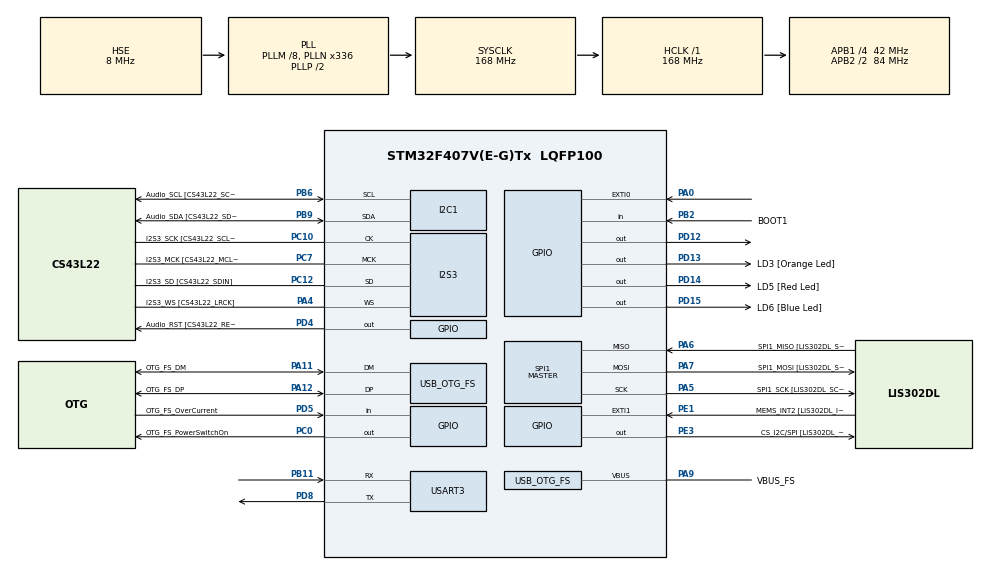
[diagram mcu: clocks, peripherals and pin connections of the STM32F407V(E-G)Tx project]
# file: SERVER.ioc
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Dma.Request0=USART3_RX
Dma.Request1=USART3_TX
Dma.USART3_RX.0.Direction=DMA_PERIPH_TO_MEMORY
Dma.USART3_RX.0.FIFOMode=DMA_FIFOMODE_DISABLE
Dma.USART3_RX.0.Instance=DMA1_Stream1
Dma.USART3_RX.0.MemDataAlignment=DMA_MDATAALIGN_BYTE
Dma.USART3_RX.0.MemInc=DMA_MINC_ENABLE
Dma.USART3_RX.0.Mode=DMA_NORMAL
Dma.USART3_RX.0.PeriphDataAlignment=DMA_PDATAALIGN_BYTE
Dma.USART3_RX.0.PeriphInc=DMA_PINC_DISABLE
Dma.USART3_RX.0.Priority=DMA_PRIORITY_LOW
Dma.USART3_TX.1.Direction=DMA_MEMORY_TO_PERIPH
Dma.USART3_TX.1.FIFOMode=DMA_FIFOMODE_DISABLE
Dma.USART3_TX.1.Instance=DMA1_Stream3
Dma.USART3_TX.1.MemDataAlignment=DMA_MDATAALIGN_BYTE
Dma.USART3_TX.1.MemInc=DMA_MINC_ENABLE
Dma.USART3_TX.1.Mode=DMA_NORMAL
Dma.USART3_TX.1.PeriphDataAlignment=DMA_PDATAALIGN_BYTE
Dma.USART3_TX.1.PeriphInc=DMA_PINC_DISABLE
Dma.USART3_TX.1.Priority=DMA_PRIORITY_LOW
I2S3.AudioFreq-Half_Duplex_Master=I2S_AUDIOFREQ_96K
I2S3.ErrorAudioFreq=-2.34 %
I2S3.ErrorAudioFreq-Half_Duplex_Master=0.8 %
I2S3.FullDuplexMode=I2S_FULLDUPLEXMODE_DISABLE
I2S3.Instance=SPI$Index
I2S3.RealAudioFreq=93.75 KHz
I2S3.RealAudioFreq-Half_Duplex_Master=96.774 KHz
I2S3.VirtualMode=I2S_MODE_MASTER
Mcu.Family=STM32F4
Mcu.Name=STM32F407V(E-G)Tx
Mcu.Package=LQFP100
NVIC.DMA1_Stream1_IRQn=true\:0\:0\:false\:false\:true\:false\:true\:true
NVIC.DMA1_Stream3_IRQn=true\:0\:0\:false\:false\:true\:false\:true\:true
NVIC.EXTI0_IRQn=true\:0\:0\:false\:false\:true\:true\:true\:true
NVIC.OTG_FS_IRQn=true\:0\:0\:false\:false\:true\:true\:true\:true
NVIC.PriorityGroup=NVIC_PRIORITYGROUP_0
NVIC.USART3_IRQn=true\:0\:0\:false\:false\:true\:true\:true\:true
PA0-WKUP.GPIO_ModeDefaultEXTI=GPIO_MODE_IT_RISING
PA0-WKUP.Signal=GPXTI0
PA10.GPIO_Label=OTG_FS_ID
PA10.GPIO_Mode=GPIO_MODE_AF_PP
PA10.GPIO_PuPd=GPIO_NOPULL
PA10.GPIO_Speed=GPIO_SPEED_FREQ_LOW
PA10.Signal=USB_OTG_FS_ID
PA11.GPIO_Label=OTG_FS_DM
PA11.GPIO_Mode=GPIO_MODE_AF_PP
PA11.GPIO_PuPd=GPIO_NOPULL
PA11.GPIO_Speed=GPIO_SPEED_FREQ_LOW
PA11.Mode=Host_Only
PA11.Signal=USB_OTG_FS_DM
PA12.GPIO_Label=OTG_FS_DP
PA12.GPIO_Mode=GPIO_MODE_AF_PP
PA12.GPIO_PuPd=GPIO_NOPULL
PA12.GPIO_Speed=GPIO_SPEED_FREQ_LOW
PA12.Mode=Host_Only
PA12.Signal=USB_OTG_FS_DP
PA13.GPIO_Label=SWDIO
PA13.Mode=Serial_Wire
PA13.Signal=SYS_JTMS-SWDIO
PA14.GPIO_Label=SWCLK
PA14.Mode=Serial_Wire
PA14.Signal=SYS_JTCK-SWCLK
PA4.GPIO_Label=I2S3_WS [CS43L22_LRCK]
PA4.GPIO_Mode=GPIO_MODE_AF_PP
PA4.GPIO_PuPd=GPIO_NOPULL
PA4.GPIO_Speed=GPIO_SPEED_FREQ_LOW
PA4.Mode=Half_Duplex_Master
PA4.Signal=I2S3_WS
PA5.GPIO_Label=SPI1_SCK [LIS302DL_SCL/SPC]
PA5.GPIO_Mode=GPIO_MODE_AF_PP
PA5.GPIO_PuPd=GPIO_NOPULL
PA5.GPIO_Speed=GPIO_SPEED_FREQ_LOW
PA5.Mode=Full_Duplex_Master
PA5.Signal=SPI1_SCK
PA6.GPIO_Label=SPI1_MISO [LIS302DL_SDO]
PA6.GPIO_Mode=GPIO_MODE_AF_PP
PA6.GPIO_PuPd=GPIO_NOPULL
PA6.GPIO_Speed=GPIO_SPEED_FREQ_LOW
PA6.Mode=Full_Duplex_Master
PA6.Signal=SPI1_MISO
PA7.GPIO_Label=SPI1_MOSI [LIS302DL_SDA/SDI/SDO]
PA7.GPIO_Mode=GPIO_MODE_AF_PP
PA7.GPIO_PuPd=GPIO_NOPULL
PA7.GPIO_Speed=GPIO_SPEED_FREQ_LOW
PA7.Mode=Full_Duplex_Master
PA7.Signal=SPI1_MOSI
PA9.GPIO_Label=VBUS_FS
PA9.GPIO_Mode=GPIO_MODE_INPUT
PA9.GPIO_PuPd=GPIO_NOPULL
PA9.Mode=Activate_VBUS
PA9.Signal=USB_OTG_FS_VBUS
PB10.GPIO_Label=CLK_IN [MP45DT02_CLK]
PB10.GPIO_Mode=GPIO_MODE_AF_PP
PB10.GPIO_PuPd=GPIO_NOPULL
PB10.GPIO_Speed=GPIO_SPEED_FREQ_LOW
PB10.Signal=I2S2_CK
PB11.Mode=Asynchronous
PB11.Signal=USART3_RX
PB2.GPIO_Label=BOOT1
PB2.GPIO_Mode=GPIO_MODE_INPUT
PB2.GPIO_PuPd=GPIO_NOPULL
PB2.Signal=GPIO_Input
PB3.GPIO_Label=SWO
PB3.Signal=SYS_JTDO-SWO
PB6.GPIO_Label=Audio_SCL [CS43L22_SCL]
PB6.GPIO_Mode=GPIO_MODE_AF_OD
PB6.GPIO_Pu=GPIO_PULLUP
PB6.GPIO_PuPd=GPIO_NOPULL
PB6.GPIO_Speed=GPIO_SPEED_FREQ_LOW
PB6.Mode=I2C
PB6.Signal=I2C1_SCL
PB9.GPIO_Label=Audio_SDA [CS43L22_SDA]
PB9.GPIO_Mode=GPIO_MODE_AF_OD
PB9.GPIO_Pu=GPIO_PULLUP
PB9.GPIO_PuPd=GPIO_NOPULL
PB9.GPIO_Speed=GPIO_SPEED_FREQ_LOW
PB9.Mode=I2C
PB9.Signal=I2C1_SDA
PC0.GPIO_Label=OTG_FS_PowerSwitchOn
PC0.GPIO_PuPd=GPIO_NOPULL
PC0.GPIO_Speed=GPIO_SPEED_FREQ_LOW
PC0.PinState=GPIO_PIN_SET
PC0.Signal=GPIO_Output
PC10.GPIO_Label=I2S3_SCK [CS43L22_SCLK]
PC10.GPIO_Mode=GPIO_MODE_AF_PP
PC10.GPIO_PuPd=GPIO_NOPULL
PC10.GPIO_Speed=GPIO_SPEED_FREQ_LOW
PC10.Mode=Half_Duplex_Master
PC10.Signal=I2S3_CK
PC12.GPIO_Label=I2S3_SD [CS43L22_SDIN]
PC12.GPIO_Mode=GPIO_MODE_AF_PP
PC12.GPIO_PuPd=GPIO_NOPULL
PC12.GPIO_Speed=GPIO_SPEED_FREQ_LOW
PC12.Mode=Half_Duplex_Master
PC12.Signal=I2S3_SD
PC14-OSC32_IN.GPIO_Label=PC14-OSC32_IN
PC14-OSC32_IN.Mode=LSE-External-Oscillator
PC14-OSC32_IN.Signal=RCC_OSC32_IN
PC15-OSC32_OUT.GPIO_Label=PC15-OSC32_OUT
PC15-OSC32_OUT.Mode=LSE-External-Oscillator
PC15-OSC32_OUT.Signal=RCC_OSC32_OUT
PC3.GPIO_Label=PDM_OUT [MP45DT02_DOUT]
PC3.GPIO_Mode=GPIO_MODE_AF_PP
PC3.GPIO_PuPd=GPIO_NOPULL
PC3.GPIO_Speed=GPIO_SPEED_FREQ_LOW
PC3.Signal=I2S2_SD
PC7.GPIO_Label=I2S3_MCK [CS43L22_MCLK]
PC7.GPIO_Mode=GPIO_MODE_AF_PP
PC7.GPIO_PuPd=GPIO_NOPULL
PC7.GPIO_Speed=GPIO_SPEED_FREQ_LOW
PC7.Mode=Master_Clock_Activated
PC7.Signal=I2S3_MCK
PD12.Signal=GPIO_Output
PD13.GPIO_Label=LD3 [Orange Led]
PD13.GPIO_PuPd=GPIO_NOPULL
PD13.GPIO_Speed=GPIO_SPEED_FREQ_LOW
PD13.Signal=GPIO_Output
PD14.GPIO_Label=LD5 [Red Led]
PD14.GPIO_PuPd=GPIO_NOPULL
PD14.GPIO_Speed=GPIO_SPEED_FREQ_LOW
PD14.Signal=GPIO_Output
PD15.GPIO_Label=LD6 [Blue Led]
PD15.GPIO_PuPd=GPIO_NOPULL
PD15.GPIO_Speed=GPIO_SPEED_FREQ_LOW
PD15.Signal=GPIO_Output
PD4.GPIO_Label=Audio_RST [CS43L22_RESET]
PD4.GPIO_PuPd=GPIO_NOPULL
PD4.GPIO_Speed=GPIO_SPEED_FREQ_LOW
PD4.Signal=GPIO_Output
PD5.GPIO_Label=OTG_FS_OverCurrent
PD5.GPIO_Mode=GPIO_MODE_INPUT
PD5.GPIO_PuPd=GPIO_NOPULL
PD5.Signal=GPIO_Input
PD8.Mode=Asynchronous
PD8.Signal=USART3_TX
PE1.GPIO_Label=MEMS_INT2 [LIS302DL_INT2]
PE1.GPIO_ModeDefaultEXTI=GPIO_MODE_EVT_RISING
PE1.GPIO_PuPd=GPIO_NOPULL
PE1.Signal=GPXTI1
PE3.GPIO_Label=CS_I2C/SPI [LIS302DL_CS_I2C/SPI]
PE3.GPIO_PuPd=GPIO_NOPULL
PE3.GPIO_Speed=GPIO_SPEED_FREQ_LOW
PE3.Signal=GPIO_Output
PH0-OSC_IN.GPIO_Label=PH0-OSC_IN
PH0-OSC_IN.Mode=HSE-External-Oscillator
PH0-OSC_IN.Signal=RCC_OSC_IN
PH1-OSC_OUT.GPIO_Label=PH1-OSC_OUT
PH1-OSC_OUT.Mode=HSE-External-Oscillator
PH1-OSC_OUT.Signal=RCC_OSC_OUT
ProjectManager.HeapSize=0x200
ProjectManager.StackSize=0x400
ProjectManager.TargetToolchain=STM32CubeIDE
RCC.48MHZClocksFreq_Value=48000000
RCC.AHBFreq_Value=168000000
RCC.APB1CLKDivider=RCC_HCLK_DIV4
RCC.APB1Freq_Value=42000000
RCC.APB1TimFreq_Value=84000000
RCC.APB2CLKDivider=RCC_HCLK_DIV2
RCC.APB2Freq_Value=84000000
RCC.APB2TimFreq_Value=168000000
RCC.CortexFreq_Value=168000000
RCC.HCLKFreq_Value=168000000
RCC.HSE_VALUE=8000000
RCC.HSI_VALUE=16000000
RCC.PLLM=8
RCC.PLLN=336
RCC.PLLQ=7
RCC.SYSCLKFreq_VALUE=168000000
RCC.SYSCLKSource=RCC_SYSCLKSOURCE_PLLCLK
RCC.VCOOutputFreq_Value=336000000
SPI1.BaudRatePrescaler-Full_Duplex_Master=SPI_BAUDRATEPRESCALER_2
SPI1.CalculateBaudRate-Full_Duplex_Master=42.0 MBits/s
SPI1.Direction=SPI_DIRECTION_2LINES
SPI1.Mode=SPI_MODE_MASTER
SPI1.Mode-Full_Duplex_Master=SPI_MODE_MASTER
SPI1.VirtualType=VM_MASTER
USART3.VirtualMode=VM_ASYNC
USB_HOST.BSP.number=1
USB_HOST.USBH_HandleTypeDef-CDC_FS=hUsbHostFS
USB_HOST.VirtualModeFS=Cdc
USB_HOST0.BSP.STBoard=false
USB_HOST0.BSP.api=Unknown
USB_HOST0.BSP.instance=PC0
USB_HOST0.BSP.ip=GPIO
USB_HOST0.BSP.mode=Output
USB_HOST0.BSP.name=Drive_VBUS_FS
USB_HOST0.BSP.solution=PC0
USB_OTG_FS.VirtualMode=Host_Only
USB_OTG_FS.phy_itface=HCD_PHY_EMBEDDED
VP_USB_HOST_VS_USB_HOST_CDC_FS.Mode=CDC_FS
board=STM32F407G-DISC1

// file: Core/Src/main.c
/* USER CODE BEGIN Header */
/**
  ******************************************************************************
  * @file           : main.c
  * @brief          : Main program body
  ******************************************************************************
  * @attention
  *
  * Copyright (c) 2026 STMicroelectronics.
  * All rights reserved.
  *
  * This software is licensed under terms that can be found in the LICENSE file
  * in the root directory of this software component.
  * If no LICENSE file comes with this software, it is provided AS-IS.
  *
  ******************************************************************************
  */
/* USER CODE END Header */
#include "main.h"
#include "usb_host.h"

I2C_HandleTypeDef hi2c1;

I2S_HandleTypeDef hi2s3;

SPI_HandleTypeDef hspi1;

UART_HandleTypeDef huart3;
DMA_HandleTypeDef hdma_usart3_rx;
DMA_HandleTypeDef hdma_usart3_tx;

void SystemClock_Config(void);
static void MX_GPIO_Init(void);
static void MX_DMA_Init(void);
static void MX_I2C1_Init(void);
static void MX_I2S3_Init(void);
static void MX_SPI1_Init(void);
static void MX_USART3_UART_Init(void);
void MX_USB_HOST_Process(void);

/* USER CODE BEGIN 0 */

uint8_t value = 0;
uint8_t counter = 0;
unsigned char table[10][50] = {
		"Lucas Almeida, 202410238",
		"Mariana Oliveira, 202310547",
		"Pedro Henrique, 202420193",
		"Ana Beatriz, 202210864",
		"Gabriel Santos, 202410725",
		"Juliana Ferreira, 202320416",
		"Rafael Costa, 202110982",
		"Camila Rodrigues, 202420631",
		"Matheus Pereira, 202310275",
		"Isabela Martins, 202220749"
	};

volatile uint8_t button_pressed = 0;
volatile uint8_t received_5A = 0;

volatile uint32_t last_click = 0;

/* USER CODE END 0 */

int main(void)
{

  /* MCU Configuration--------------------------------------------------------*/

  /* Reset of all peripherals, Initializes the Flash interface and the Systick. */
  HAL_Init();

  /* Configure the system clock */
  SystemClock_Config();

  /* Initialize all configured peripherals */
  MX_GPIO_Init();
  MX_DMA_Init();
  MX_I2C1_Init();
  MX_I2S3_Init();
  MX_SPI1_Init();
  MX_USART3_UART_Init();
  MX_USB_HOST_Init();
  /* USER CODE BEGIN 2 */
  HAL_UART_Receive_IT(&huart3, &value, 1);
  /* USER CODE END 2 */

  /* Infinite loop */
  while (1)
  {
    MX_USB_HOST_Process();

    /* USER CODE BEGIN 3 */

    if (button_pressed == 1){
    	button_pressed = 0;
    	for (int i = 0; i < counter; i++){
    		HAL_GPIO_WritePin(GPIOD, GPIO_PIN_12, GPIO_PIN_SET);
			HAL_Delay(200);

			HAL_GPIO_WritePin(GPIOD, GPIO_PIN_12, GPIO_PIN_RESET);
			HAL_Delay(200);
    	}
    }

    if (received_5A == 1){
    	received_5A = 0;

    	HAL_GPIO_WritePin(GPIOD, GPIO_PIN_12, GPIO_PIN_SET);
		HAL_Delay(100);
		HAL_GPIO_WritePin(GPIOD, GPIO_PIN_12, GPIO_PIN_RESET);
		HAL_Delay(100);
    	HAL_GPIO_WritePin(GPIOD, GPIO_PIN_12, GPIO_PIN_SET);
		HAL_Delay(100);
		HAL_GPIO_WritePin(GPIOD, GPIO_PIN_12, GPIO_PIN_RESET);
		HAL_Delay(100);
    	HAL_GPIO_WritePin(GPIOD, GPIO_PIN_12, GPIO_PIN_SET);
		HAL_Delay(100);
		HAL_GPIO_WritePin(GPIOD, GPIO_PIN_12, GPIO_PIN_RESET);
		HAL_Delay(100);

    	HAL_UART_Transmit_IT(&huart3, &counter, 1);

    	while (huart3.gState != HAL_UART_STATE_READY) {}

    	HAL_Delay(10);

    	counter = 0;

    	HAL_UART_Transmit_DMA(&huart3, *table, 500);
    }

  }

  /* USER CODE END 3 */
}

void SystemClock_Config(void)
{
  RCC_OscInitTypeDef RCC_OscInitStruct = {0};
  RCC_ClkInitTypeDef RCC_ClkInitStruct = {0};

  /** Configure the main internal regulator output voltage
  */
  __HAL_RCC_PWR_CLK_ENABLE();
  __HAL_PWR_VOLTAGESCALING_CONFIG(PWR_REGULATOR_VOLTAGE_SCALE1);

  /** Initializes the RCC Oscillators according to the specified parameters
  * in the RCC_OscInitTypeDef structure.
  */
  RCC_OscInitStruct.OscillatorType = RCC_OSCILLATORTYPE_HSE;
  RCC_OscInitStruct.HSEState = RCC_HSE_ON;
  RCC_OscInitStruct.PLL.PLLState = RCC_PLL_ON;
  RCC_OscInitStruct.PLL.PLLSource = RCC_PLLSOURCE_HSE;
  RCC_OscInitStruct.PLL.PLLM = 8;
  RCC_OscInitStruct.PLL.PLLN = 336;
  RCC_OscInitStruct.PLL.PLLP = RCC_PLLP_DIV2;
  RCC_OscInitStruct.PLL.PLLQ = 7;
  if (HAL_RCC_OscConfig(&RCC_OscInitStruct) != HAL_OK)
  {
    Error_Handler();
  }

  /** Initializes the CPU, AHB and APB buses clocks
  */
  RCC_ClkInitStruct.ClockType = RCC_CLOCKTYPE_HCLK|RCC_CLOCKTYPE_SYSCLK
                              |RCC_CLOCKTYPE_PCLK1|RCC_CLOCKTYPE_PCLK2;
  RCC_ClkInitStruct.SYSCLKSource = RCC_SYSCLKSOURCE_PLLCLK;
  RCC_ClkInitStruct.AHBCLKDivider = RCC_SYSCLK_DIV1;
  RCC_ClkInitStruct.APB1CLKDivider = RCC_HCLK_DIV4;
  RCC_ClkInitStruct.APB2CLKDivider = RCC_HCLK_DIV2;

  if (HAL_RCC_ClockConfig(&RCC_ClkInitStruct, FLASH_LATENCY_5) != HAL_OK)
  {
    Error_Handler();
  }
}

static void MX_I2C1_Init(void)
{

  hi2c1.Instance = I2C1;
  hi2c1.Init.ClockSpeed = 100000;
  hi2c1.Init.DutyCycle = I2C_DUTYCYCLE_2;
  hi2c1.Init.OwnAddress1 = 0;
  hi2c1.Init.AddressingMode = I2C_ADDRESSINGMODE_7BIT;
  hi2c1.Init.DualAddressMode = I2C_DUALADDRESS_DISABLE;
  hi2c1.Init.OwnAddress2 = 0;
  hi2c1.Init.GeneralCallMode = I2C_GENERALCALL_DISABLE;
  hi2c1.Init.NoStretchMode = I2C_NOSTRETCH_DISABLE;
  if (HAL_I2C_Init(&hi2c1) != HAL_OK)
  {
    Error_Handler();
  }

}

static void MX_I2S3_Init(void)
{

  hi2s3.Instance = SPI3;
  hi2s3.Init.Mode = I2S_MODE_MASTER_TX;
  hi2s3.Init.Standard = I2S_STANDARD_PHILIPS;
  hi2s3.Init.DataFormat = I2S_DATAFORMAT_16B;
  hi2s3.Init.MCLKOutput = I2S_MCLKOUTPUT_ENABLE;
  hi2s3.Init.AudioFreq = I2S_AUDIOFREQ_96K;
  hi2s3.Init.CPOL = I2S_CPOL_LOW;
  hi2s3.Init.ClockSource = I2S_CLOCK_PLL;
  hi2s3.Init.FullDuplexMode = I2S_FULLDUPLEXMODE_DISABLE;
  if (HAL_I2S_Init(&hi2s3) != HAL_OK)
  {
    Error_Handler();
  }

}

static void MX_SPI1_Init(void)
{

  /* SPI1 parameter configuration*/
  hspi1.Instance = SPI1;
  hspi1.Init.Mode = SPI_MODE_MASTER;
  hspi1.Init.Direction = SPI_DIRECTION_2LINES;
  hspi1.Init.DataSize = SPI_DATASIZE_8BIT;
  hspi1.Init.CLKPolarity = SPI_POLARITY_LOW;
  hspi1.Init.CLKPhase = SPI_PHASE_1EDGE;
  hspi1.Init.NSS = SPI_NSS_SOFT;
  hspi1.Init.BaudRatePrescaler = SPI_BAUDRATEPRESCALER_2;
  hspi1.Init.FirstBit = SPI_FIRSTBIT_MSB;
  hspi1.Init.TIMode = SPI_TIMODE_DISABLE;
  hspi1.Init.CRCCalculation = SPI_CRCCALCULATION_DISABLE;
  hspi1.Init.CRCPolynomial = 10;
  if (HAL_SPI_Init(&hspi1) != HAL_OK)
  {
    Error_Handler();
  }

}

static void MX_USART3_UART_Init(void)
{

  huart3.Instance = USART3;
  huart3.Init.BaudRate = 115200;
  huart3.Init.WordLength = UART_WORDLENGTH_8B;
  huart3.Init.StopBits = UART_STOPBITS_1;
  huart3.Init.Parity = UART_PARITY_NONE;
  huart3.Init.Mode = UART_MODE_TX_RX;
  huart3.Init.HwFlowCtl = UART_HWCONTROL_NONE;
  huart3.Init.OverSampling = UART_OVERSAMPLING_16;
  if (HAL_UART_Init(&huart3) != HAL_OK)
  {
    Error_Handler();
  }

}

static void MX_DMA_Init(void)
{

  /* DMA controller clock enable */
  __HAL_RCC_DMA1_CLK_ENABLE();

  /* DMA interrupt init */
  /* DMA1_Stream1_IRQn interrupt configuration */
  HAL_NVIC_SetPriority(DMA1_Stream1_IRQn, 0, 0);
  HAL_NVIC_EnableIRQ(DMA1_Stream1_IRQn);
  /* DMA1_Stream3_IRQn interrupt configuration */
  HAL_NVIC_SetPriority(DMA1_Stream3_IRQn, 0, 0);
  HAL_NVIC_EnableIRQ(DMA1_Stream3_IRQn);

}

static void MX_GPIO_Init(void)
{
  GPIO_InitTypeDef GPIO_InitStruct = {0};

  /* GPIO Ports Clock Enable */
  __HAL_RCC_GPIOE_CLK_ENABLE();
  __HAL_RCC_GPIOC_CLK_ENABLE();
  __HAL_RCC_GPIOH_CLK_ENABLE();
  __HAL_RCC_GPIOA_CLK_ENABLE();
  __HAL_RCC_GPIOB_CLK_ENABLE();
  __HAL_RCC_GPIOD_CLK_ENABLE();

  /*Configure GPIO pin Output Level */
  HAL_GPIO_WritePin(CS_I2C_SPI_GPIO_Port, CS_I2C_SPI_Pin, GPIO_PIN_RESET);

  /*Configure GPIO pin Output Level */
  HAL_GPIO_WritePin(OTG_FS_PowerSwitchOn_GPIO_Port, OTG_FS_PowerSwitchOn_Pin, GPIO_PIN_SET);

  /*Configure GPIO pin Output Level */
  HAL_GPIO_WritePin(GPIOD, GPIO_PIN_12|LD3_Pin|LD5_Pin|LD6_Pin
                          |Audio_RST_Pin, GPIO_PIN_RESET);

  /*Configure GPIO pin : CS_I2C_SPI_Pin */
  GPIO_InitStruct.Pin = CS_I2C_SPI_Pin;
  GPIO_InitStruct.Mode = GPIO_MODE_OUTPUT_PP;
  GPIO_InitStruct.Pull = GPIO_NOPULL;
  GPIO_InitStruct.Speed = GPIO_SPEED_FREQ_LOW;
  HAL_GPIO_Init(CS_I2C_SPI_GPIO_Port, &GPIO_InitStruct);

  /*Configure GPIO pin : OTG_FS_PowerSwitchOn_Pin */
  GPIO_InitStruct.Pin = OTG_FS_PowerSwitchOn_Pin;
  GPIO_InitStruct.Mode = GPIO_MODE_OUTPUT_PP;
  GPIO_InitStruct.Pull = GPIO_NOPULL;
  GPIO_InitStruct.Speed = GPIO_SPEED_FREQ_LOW;
  HAL_GPIO_Init(OTG_FS_PowerSwitchOn_GPIO_Port, &GPIO_InitStruct);

  /*Configure GPIO pin : PDM_OUT_Pin */
  GPIO_InitStruct.Pin = PDM_OUT_Pin;
  GPIO_InitStruct.Mode = GPIO_MODE_AF_PP;
  GPIO_InitStruct.Pull = GPIO_NOPULL;
  GPIO_InitStruct.Speed = GPIO_SPEED_FREQ_LOW;
  GPIO_InitStruct.Alternate = GPIO_AF5_SPI2;
  HAL_GPIO_Init(PDM_OUT_GPIO_Port, &GPIO_InitStruct);

  /*Configure GPIO pin : PA0 */
  GPIO_InitStruct.Pin = GPIO_PIN_0;
  GPIO_InitStruct.Mode = GPIO_MODE_IT_RISING;
  GPIO_InitStruct.Pull = GPIO_NOPULL;
  HAL_GPIO_Init(GPIOA, &GPIO_InitStruct);

  /*Configure GPIO pin : BOOT1_Pin */
  GPIO_InitStruct.Pin = BOOT1_Pin;
  GPIO_InitStruct.Mode = GPIO_MODE_INPUT;
  GPIO_InitStruct.Pull = GPIO_NOPULL;
  HAL_GPIO_Init(BOOT1_GPIO_Port, &GPIO_InitStruct);

  /*Configure GPIO pin : CLK_IN_Pin */
  GPIO_InitStruct.Pin = CLK_IN_Pin;
  GPIO_InitStruct.Mode = GPIO_MODE_AF_PP;
  GPIO_InitStruct.Pull = GPIO_NOPULL;
  GPIO_InitStruct.Speed = GPIO_SPEED_FREQ_LOW;
  GPIO_InitStruct.Alternate = GPIO_AF5_SPI2;
  HAL_GPIO_Init(CLK_IN_GPIO_Port, &GPIO_InitStruct);

  /*Configure GPIO pins : PD12 LD3_Pin LD5_Pin LD6_Pin
                           Audio_RST_Pin */
  GPIO_InitStruct.Pin = GPIO_PIN_12|LD3_Pin|LD5_Pin|LD6_Pin
                          |Audio_RST_Pin;
  GPIO_InitStruct.Mode = GPIO_MODE_OUTPUT_PP;
  GPIO_InitStruct.Pull = GPIO_NOPULL;
  GPIO_InitStruct.Speed = GPIO_SPEED_FREQ_LOW;
  HAL_GPIO_Init(GPIOD, &GPIO_InitStruct);

  /*Configure GPIO pin : OTG_FS_OverCurrent_Pin */
  GPIO_InitStruct.Pin = OTG_FS_OverCurrent_Pin;
  GPIO_InitStruct.Mode = GPIO_MODE_INPUT;
  GPIO_InitStruct.Pull = GPIO_NOPULL;
  HAL_GPIO_Init(OTG_FS_OverCurrent_GPIO_Port, &GPIO_InitStruct);

  /*Configure GPIO pin : MEMS_INT2_Pin */
  GPIO_InitStruct.Pin = MEMS_INT2_Pin;
  GPIO_InitStruct.Mode = GPIO_MODE_EVT_RISING;
  GPIO_InitStruct.Pull = GPIO_NOPULL;
  HAL_GPIO_Init(MEMS_INT2_GPIO_Port, &GPIO_InitStruct);

  /* EXTI interrupt init*/
  HAL_NVIC_SetPriority(EXTI0_IRQn, 0, 0);
  HAL_NVIC_EnableIRQ(EXTI0_IRQn);

}

/* USER CODE BEGIN 4 */

void HAL_GPIO_EXTI_Callback(uint16_t GPIO_Pin) {
  if (GPIO_Pin == GPIO_PIN_0) {

	  uint32_t curr_click = HAL_GetTick();
	  if ((curr_click - last_click) < 200) return;
	  last_click = curr_click;

	  counter++;
	  button_pressed = 1;
  } else {
	  __NOP();
  }
}

void HAL_UART_RxCpltCallback(UART_HandleTypeDef *huart){

  if (huart->Instance == USART3){
	  if (value == 0x5A){
		  received_5A = 1;
	  } else {
		  __NOP();
	  }

	  HAL_UART_Receive_IT(&huart3, &value, 1);
  }

}

/* USER CODE END 4 */

void Error_Handler(void)
{
  __disable_irq();
  while (1)
  {
  }
}
